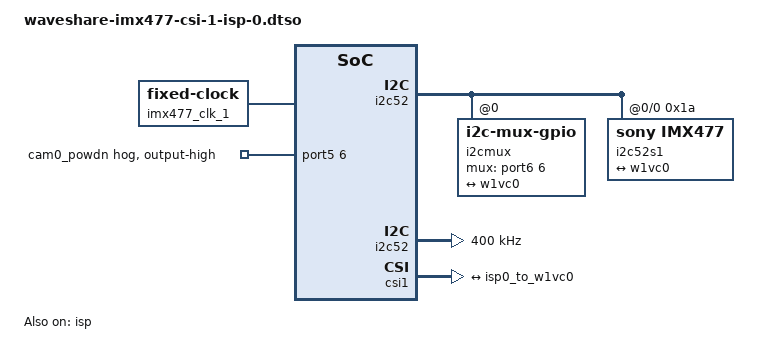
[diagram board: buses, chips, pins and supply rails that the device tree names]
// SPDX-License-Identifier: (GPL-2.0+ OR MIT)
/*
 * Copyright (c) 2025 SiMa ai
 */

/dts-v1/;
/plugin/;

&port5 {
	cam-hog0 {
		gpio-hog;
		/* Set port5 gpio6 to GPIO_ACTIVE_HIGH mode */
		gpios = <6 0>;
		output-high;
		line-name = "cam0_powdn";
	};
};

&i2c52 {
    status = "okay";
    clock-frequency = <400000>;
    #address-cells = <1>;
    #size-cells = <0>;
};

/ {
    fragment@10 {
        target-path = "/"; /* Root node of the base tree */
        __overlay__ {
			imx477_clk_1: csi1_camera-clk {
				compatible = "fixed-clock";
				#clock-cells = <0>;
				clock-frequency = <24000000>;
			};
        };
    };

    fragment@11 {
        target-path = "/"; /* Root node of the base tree */
        __overlay__ {
			i2cmux@0 {
				compatible = "i2c-mux-gpio";
				i2c-parent = <&i2c52>;
				#address-cells = <1>;
				#size-cells = <0>;
				/* Set port6 gpio6 to GPIO_ACTIVE_LOW mode */
				mux-gpios = <&port6 6 0>;
				i2c@0 {
					reg = <0>;
					#address-cells = <1>;
					#size-cells = <0>;
					i2c52s1: sensor@1a {
						compatible = "sony,imx477";
						reg = <0x1a>;
						clocks = <&imx477_clk_1>;
						clock-names = "xclk";
						i2c52p1: port@1 {
							camera_1: endpoint@0 {
								remote-endpoint = <&w1vc0>;
								data-lanes = <1 2>;
								clock-lanes = <0>;
								clock-continuous;
								link-frequencies = /bits/ 64 <450000000>;
							};
						};
					};
				};
			};
		};
	};
};

&mipi_dphy_rx1 {
	snps,dphy-frequency = <450000000>;
};

&axi_vdma_vis1 { status = "okay"; };

&csi1 {
	status = "okay";
	isp-connected = <1>;
	csi1p0: port@1 {
		reg = <1>;
		w1vc0_to_isp0: endpoint@1 {
			remote-endpoint = <&isp0_to_w1vc0>;
			data-lanes = <1 2>;
			clock-lanes = <1>;
			clock-continuous;
			link-frequencies = /bits/ 64 <450000000>;
		};
	};
};

&isp {
	status = "okay";
	ports {
		#address-cells = <1>;
		#size-cells = <0>;
		isp0p0: port@1 {
			reg = <0>;
			isp0_to_w1vc0: endpoint@0 {
				remote-endpoint = <&w1vc0_to_isp0>;
				dma-index = <1>;
			};
			w1vc0: endpoint@1 {
				remote-endpoint = <&camera_1>;
				sensor-id = <1>;
			};
		};
	};
};
